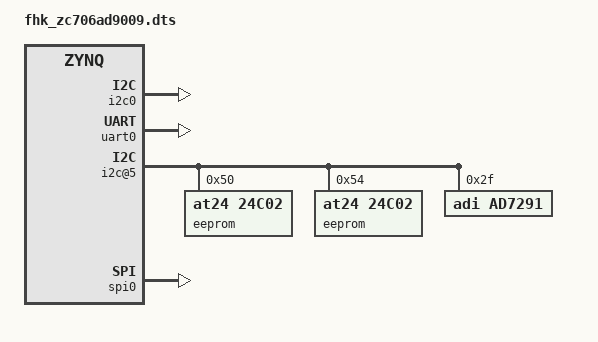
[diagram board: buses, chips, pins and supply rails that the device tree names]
/dts-v1/;

/include/ "zynq-zc706.dtsi"
/include/ "zynq-zc706-adv7511.dtsi"

/* NOTICE:
   clocks : means "clocks_input" actually
   clock-names : the name is "aligned" with the corresponding driver
interrupts of zynq7k:
  PL to PS Interrupts:
    IRQF2P[ 7: 0] input, SPI: Numbers [68:61].
    IRQF2P[15: 8] input, SPI: Numbers [91:84].
    IRQF2P[19:16] input, PPI: nFIQ, nIRQ (both CPUs).
  PS to PL Interrupts:
    IRQP2F[27: 0] Output, I/O peripherals received and forwarded to the interrupt controller.

History:
  base: branch "adrv9009_zc706", "arch\arm\boot\dts\zynq-zc706-adv7511-adrv9009.dts"
  change: clock-tree/interrupts per FHK-RFB (1*AD9528+2*AD9009)
  reference: https://ez.analog.com/wide-band-rf-transceivers/
    design-support-adrv9008-1-adrv9008-2-adrv9009/f/discussions/
    100583/adrv9009-custom-profile/300558
  change: Xilinx DPD integration, FHK DMA datapath verification
*/

&i2c0 {
	status = "okay";
};

&uart0 {
	status = "okay";
};

&i2c_mux {
	i2c@5 { /* HPC IIC */
		#address-cells = <1>;
		#size-cells = <0>;
		reg = <5>;

		eeprom@50 {
			compatible = "at24,24c02";
			reg = <0x50>;
		};

		eeprom@54 {
			compatible = "at24,24c02";
			reg = <0x54>;
		};

		ad7291@2f {
			compatible = "adi,ad7291";
			reg = <0x2f>;
		};
	};
};

&fpga_axi {
	jesd204rx_dma: jesd204rx-dmac@7c400000 {
		compatible = "adi,axi-dmac-1.00.a";
		reg = <0x7c400000 0x10000>;
		#dma-cells = <1>;
		interrupts = <0 57 0>; // UG858, Table 7-4: IRQF2P[13] -> IRQ[89-32]
		clocks = <&clkc 15>; // 15/fclk0 <- 17/fclk2
		//clocks = <&clkc 15>, <&clkc 17>, <&misc_clk_0>;
		//clock-names = "s_axi_aclk", "m_dest_axi_aclk", "fifo_wr_clk";

		adi,channels {
			#size-cells = <0>;
			#address-cells = <1>;

			dma-channel@0 {
				reg = <0>;
				adi,source-bus-width = <64>;//ADI-HDL-2018R2 is 64
				adi,source-bus-type = <2>;
				adi,destination-bus-width = <64>;//ADI-HDL-2018R2 is 64
				adi,destination-bus-type = <0>;
			};
		};
	};

	jesd204ro_dma: jesd204ro-dmac@7c440000  {
		compatible = "adi,axi-dmac-1.00.a";
		reg = <0x7c440000  0x10000>;
		#dma-cells = <1>;
		interrupts = <0 55 0>; // UG858, Table 7-4: IRQF2P[11] -> IRQ[87-32]
		clocks = <&clkc 15>; // 15/fclk0 <- 17/fclk2
		//clocks = <&clkc 15>, <&clkc 17>, <&misc_clk_0>;
		//clock-names = "s_axi_aclk", "m_dest_axi_aclk", "fifo_wr_clk";

		adi,channels {
			#size-cells = <0>;
			#address-cells = <1>;

			dma-channel@0 {
				reg = <0>;
				adi,source-bus-width = <64>;//ADI-HDL-2018R2 is 64
				adi,source-bus-type = <2>;
				adi,destination-bus-width = <64>;//ADI-HDL-2018R2 is 64
				adi,destination-bus-type = <0>;
			};
		};
	};

	jesd204tx_dma: jesd204tx-dmac@7c420000 {
		compatible = "adi,axi-dmac-1.00.a";
		reg = <0x7c420000 0x10000>;
		#dma-cells = <1>;
		interrupts = <0 56 0>; // UG858, Table 7-4: IRQF2P[12] -> IRQ[88-32]
		clocks = <&clkc 15>; // 15/fclk0 <- 17/fclk2
		//clocks = <&clkc 15>, <&clkc 17>, <&clkc 17>;
		//clock-names = "s_axi_aclk", "m_src_axi_aclk", "m_axis_aclk";

		adi,channels {
			#size-cells = <0>;
			#address-cells = <1>;

			dma-channel@0 {
				reg = <0>;
				adi,source-bus-width = <128>;//ADI-HDL-2018R2 is 64
				adi,source-bus-type = <0>;
				adi,destination-bus-width = <128>;//ADI-HDL-2018R2 is 64
				adi,destination-bus-type = <2>;
				//adi,cyclic;
			};
		};
	};

	jesd204rx_layer3: jesd204rx-layer3@44a00000 {
		compatible = "adi,axi-adrv9009-rx-1.0";
		reg = <0x44a00000 0x8000>;
		dmas = <&jesd204rx_dma 0>;
		dma-names = "rx";
		spibus-connected = <&trx0_adrv9009>;
	};

	jesd204ro_layer3: jesd204ro-layer3@44a08000 {
		compatible = "adi,axi-adrv9009-obs-1.0";
		reg = <0x44a08000 0x1000>;
		dmas = <&jesd204ro_dma 0>;
		dma-names = "rx";
		clocks = <&trx0_adrv9009 1>;
		clock-names = "sampl_clk";
	};

	jesd204tx_layer3: jesd204tx-layer3@44a04000 {
		compatible = "adi,axi-adrv9009-tx-1.0";
		reg = <0x44a04000 0x4000>;
		dmas = <&jesd204tx_dma 0>;
		dma-names = "tx";
		clocks = <&trx0_adrv9009 2>;
		clock-names = "sampl_clk";
		spibus-connected = <&trx0_adrv9009>;
		//adi,axi-pl-fifo-enable; see "plddrbypass-gpios"
	};

	jesd204rx_layer2: jesd204rx-layer2@44aa0000 {
		compatible = "adi,axi-jesd204-rx-1.0";
		reg = <0x44aa0000 0x1000>;

		interrupts = <0 54 0>; // UG858, Table 7-4: IRQF2P[10] -> IRQ[86-32]

		clocks = <&clkc 15>, <&jesd204rx_clkgen>, <&jesd204rx_layer1 0>;
		clock-names = "s_axi_aclk", "device_clk", "lane_clk";

		#clock-cells = <0>;
		clock-output-names = "jesd_rx_lane_clk";

		//RX_PATH: *FPGA.JESD204B-DeframerA -> PHY.JESD204B-FramerA
		//adi,bits-per-sample = <16>;//N'=16; PHY-Framer decide
		//adi,converters-per-device = <4>;//M=4; PHY-Framer decide
		//L(Number of Lanes)=2; PHY-Framer decide
		//S(Number of Samples)=1; PHY-Framer decide(1,2,4)
		//Figure 34. JESD204B Framer Configuration (M = 4, L = 2, S = 1)
		adi,octets-per-frame = <4>;//F=N'/8*M*S/L =(16/8)*4*1/2=4
		adi,frames-per-multiframe = <32>;
	};

	jesd204tx_layer2: jesd204tx-layer2@44a90000 {
		compatible = "adi,axi-jesd204-tx-1.0";
		reg = <0x44a90000 0x1000>;

		interrupts = <0 53 0>; // UG858, Table 7-4: IRQF2P[9] -> IRQ[85-32]

		clocks = <&clkc 15>, <&jesd204tx_clkgen>, <&jesd204tx_layer1 0>;
		clock-names = "s_axi_aclk", "device_clk", "lane_clk";

		#clock-cells = <0>;
		clock-output-names = "jesd_tx_lane_clk";

		//TX_PATH: *FPGA.JESD204B-FramerA -> PHY.JESD204B-DeframerA
		adi,converter-resolution = <16>;// 20190314: different from 14/zynqmp-zcu102-rev10-adrv9009.dts
		adi,bits-per-sample = <16>;//N'=16; PHY-Deframer decide
		adi,control-bits-per-sample = <0>;// 20190314: different from 2/zynqmp-zcu102-rev10-adrv9009.dts
		adi,converters-per-device = <4>;//M=4; PHY-Deframer decide
		//L(Number of Lanes)=4; PHY-Deframer decide
		//S(Number of Samples)=1; PHY-Deframer decide(1-only)
		//Figure 36. JESD204B Framer Configuration (M = 4, L = 4, S = 1)
		adi,octets-per-frame = <2>;//F=N'/8*M*S/L =(16/8)*4*1/4=2
		adi,frames-per-multiframe = <32>;
	};

	jesd204ro_layer2: jesd204ro-layer2@44ab0000 {
		compatible = "adi,axi-jesd204-rx-1.0";
		reg = <0x44ab0000 0x1000>;

		interrupts = <0 52 0>; // UG858, Table 7-4: IRQF2P[8] -> IRQ[84-32]

		clocks = <&clkc 15>, <&jesd204ro_clkgen>, <&jesd204ro_layer1 0>;
		clock-names = "s_axi_aclk", "device_clk", "lane_clk";

		#clock-cells = <0>;
		clock-output-names = "jesd_ro_lane_clk";

		//RO_PATH: *FPGA.JESD204B-DeframerB -> PHY.JESD204B-FramerB
		//adi,bits-per-sample = <16>;//N'=16; PHY-Framer decide
		//adi,converters-per-device = <2>;//PHY-Framer decided; ORx2-ONLY(M=2) rather than ORx1&2(M=4); must be 2 if ORX_rfbandwidth>200MHz
		//L(Number of Lanes)=2; PHY-Framer decided
		//S(Number of Samples)=1; PHY-Framer decided(1,2,or4)
		//Figure 27. JESD204B Framer Configuration (M = 2, L = 2, S = 1)
		adi,octets-per-frame = <2>; //F=N'/8*M*S/L =(16/8)*2*1/2
		adi,frames-per-multiframe = <32>;
	};

	jesd204tx_clkgen: jesd204tx-clkgen@43c00000  {
		compatible = "adi,axi-clkgen-2.00.a";
		reg = <0x43c00000 0x10000>;
		#clock-cells = <0>;
		clocks = <&clk0_ad9528 8>;
		clock-output-names = "axi_tx_clkgen";
	};

	jesd204rx_clkgen: jesd204rx-clkgen@43c10000  {
		compatible = "adi,axi-clkgen-2.00.a";
		reg = <0x43c10000 0x10000>;
		#clock-cells = <0>;
		clocks = <&clk0_ad9528 8>;
		clock-output-names = "axi_rx_clkgen";
	};

	jesd204ro_clkgen: jesd204ro-clkgen@43c20000  {
		compatible = "adi,axi-clkgen-2.00.a";
		reg = <0x43c20000 0x10000>;
		#clock-cells = <0>;
		clocks = <&clk0_ad9528 8>;
		clock-output-names = "axi_ro_clkgen";
	};

	jesd204tx_layer1: jesd204tx-layer1@44a80000 {
		#address-cells = <1>;
		#size-cells = <0>;
		compatible = "adi,axi-adxcvr-1.0";
		reg = <0x44a80000 0x1000>;

		clocks = <&clk0_ad9528 8>, <&jesd204tx_clkgen>;
		clock-names = "conv", "div40";

		#clock-cells = <1>;
		clock-output-names = "tx_gt_clk", "tx_out_clk";

		adi,sys-clk-select = <3>;
		adi,out-clk-select = <3>;
	};

	jesd204rx_layer1: jesd204rx-layer1@44a60000 {
		#address-cells = <1>;
		#size-cells = <0>;
		compatible = "adi,axi-adxcvr-1.0";
		reg = <0x44a60000 0x1000>;

		clocks = <&clk0_ad9528 8>, <&jesd204rx_clkgen 0>;
		clock-names = "conv", "div40";

		#clock-cells = <1>;
		clock-output-names = "rx_gt_clk", "rx_out_clk";

		adi,sys-clk-select = <3>;//0->3: 20190320: using the shared QPLL(by Tx/Rx/ORx)
		adi,out-clk-select = <3>;
		adi,use-lpm-enable;
		//adi,use-cpll-enable;//20190320: using the shared QPLL(by Tx/Rx/ORx)
	};

	jesd204ro_layer1: jesd204ro-layer1@44a50000 {
		#address-cells = <1>;
		#size-cells = <0>;
		compatible = "adi,axi-adxcvr-1.0";
		reg = <0x44a50000 0x1000>;

		clocks = <&clk0_ad9528 8>, <&jesd204ro_clkgen>;
		clock-names = "conv", "div40";

		#clock-cells = <1>;
		clock-output-names = "ro_gt_clk", "ro_out_clk";

		adi,sys-clk-select = <3>;//0->3: 20190320: using the shared QPLL(by Tx/Rx/ORx)
		adi,out-clk-select = <3>;
		adi,use-lpm-enable;
		//adi,use-cpll-enable;//20190320: using the shared QPLL(by Tx/Rx/ORx)
	};
};

&fpga_axi1 {
#if 0
	CLKSS0_SCR_1: dfe_scratch@8c000000 {
		compatible = "xlnx,dfe-scratch-1.0";
		reg = <0x8c000000 0x1000>;
		clock-names = "s_axi_ctrl_aclk";
		clocks = <&misc_clk_6>;
	};
	CLKSS0_CLKCTL_1: dfe_clk_ctrl@8c001000 {
		compatible = "xlnx,dfe-clk-ctrl-1.0";
		reg = <0x8c001000 0x1000>;
		clock-names = "s_axi_ctrl_aclk", "dfe_aclk";
		clocks = <&misc_clk_6>, <&misc_clk_7>;
	};
	RFISS0_EXTS_1: dfe_rsi_ext_sync@8e002000 {
		compatible = "xlnx,dfe-ext-sync-1.0";
		reg = <0x8e002000 0x1000>;
		xlnx,antennas = <0x1>;
		xlnx,phases = <0x1>;
		xlnx,rate = <0xa>;
		clock-names = "s_axi_ctrl_aclk", "aclk";
		clocks = <&misc_clk_6>, <&misc_clk_7>;
	};
	RFISS0_GPROT_1: dfe_rsi_glitch_protect@8e005000 {
		compatible = "xlnx,dfe-glitch-protect-1.0";
		reg = <0x8e005000 0x1000>;
		xlnx,antennas = <0x1>;
		xlnx,output-reg = <0x2>;
		xlnx,phases = <0x1>;
		clock-names = "s_axi_ctrl_aclk", "dac_aclk";
		clocks = <&misc_clk_6>, <&misc_clk_7>;
	};
	TXCHAIN0_DFESS0_CFR_1: dfe_txchain_cfr@85000000 {
		clock-names = "s_axi_aclk", "aclk";
		clocks = <&misc_clk_6>, <&misc_clk_7>;
		compatible = "xlnx,pc-cfr-6.2";
		reg = <0x85000000 0x100000>;
		xlnx,axis-dyn-ctrl-tdata-width = <0x1>;
		xlnx,axis-dyn-ctrl-tuser-width = <0x1>;
		xlnx,axis-tdata-width = <0x20>;
		xlnx,axis-tuser-width = <0x8>;
		xlnx,cfr-1x-data-mode = <0x0>;
		xlnx,clks-per-samp = <0x1>;
		xlnx,component-name = "system_CFR_1_0";
		xlnx,data-width = <0x10>;
		xlnx,elaboration-dir = "./";
		xlnx,max-cp-len = <0x7ff>;
		xlnx,max-peak-delay = <0xc8>;
		xlnx,mif-size = <0x1>;
		xlnx,num-antennas = <0x1>;
		xlnx,num-cpgs-iter0 = <0x8>;
		xlnx,num-cpgs-iter1 = <0x6>;
		xlnx,num-cpgs-iter2 = <0x4>;
		xlnx,num-cpgs-iter3 = <0x4>;
		xlnx,num-cpgs-iter4 = <0x4>;
		xlnx,num-cpgs-iter5 = <0x4>;
		xlnx,num-cpgs-iter6 = <0x4>;
		xlnx,num-cpgs-iter7 = <0x4>;
		xlnx,num-filters = <0x1>;
		xlnx,num-iterations = <0x4>;
		xlnx,real-complex-cp = <0x1>;
		xlnx,wcfr-mode = <0x0>;
		xlnx,write-filters = <0x1>;
		xlnx,xdevicefamily = "zynq";
	};
	TXCHAIN0_DFESS0_CPG_1: dfe_txchain_gainctrl@86001000 {
		clock-names = "s_axi_ctrl_aclk", "aclk";
		clocks = <&misc_clk_6>, <&misc_clk_7>;
		compatible = "xlnx,dfe-gain-ctrl-1.0";
		reg = <0x86001000 0x1000>;
		xlnx,antennas = <0x1>;
		xlnx,phases = <0x1>;
	};
#endif
	/* "dpd-host-app" demands 0xA0000000 rather than 0x80000000, 
	   refer to "fhk_zc706ad9009_dpd_debug.txt" for more info */
	TXCHAIN0_DFESS0_DPD: dpd@A0000000 {
		//clock-names = "dpd_aclk", "dpd_2x_aclk", "s_axi_ctrl_aclk", "s_axi_user_aclk";
		//clocks = <&jesd204tx_clkgen>, <&jesd204tx_clkgen>, <&clkc 16>, <&clkc 16>; // 16/fclk1/200MHz
		//compatible = "xlnx,dpd-8.1", "generic-uio";
		compatible = "generic-uio";
		interrupts = <0 29 1>; // UG858, Table 7-4: IRQF2P[0] -> IRQ[61-32]
		reg = <0xA0000000 0x04000000 0xA4000000 0x00020000>;
	};
};

&spi0 {
	status = "okay";
};

#define fmc_spi spi0

//#include "fhk_adrv9009_122m.dtsi"
//#include "fhk_adrv9009_245m_dc245.dtsi"
#include "fhk_adrv9009_491m_dc245.dtsi"
//#include "fhk_adrv9009_491m_dc122.dtsi"

// adrv9009_dac_fifo_bypass_s 60
// ad9528_reset_b,       // 59
// ad9528_sysref_req,    // 58
// adrv9009_tx1_enable,    // 57
// adrv9009_tx2_enable,    // 56
// adrv9009_rx1_enable,    // 55
// adrv9009_rx2_enable,    // 54
// adrv9009_test,          // 53
// adrv9009_reset_b,       // 52
// adrv9009_gpint,         // 51
// adrv9009_gpio_00,       // 50
// adrv9009_gpio_01,       // 49
// adrv9009_gpio_02,       // 48
// adrv9009_gpio_03,       // 47
// adrv9009_gpio_04,       // 46
// adrv9009_gpio_05,       // 45
// adrv9009_gpio_06,       // 44
// adrv9009_gpio_07,       // 43
// adrv9009_gpio_15,       // 42
// adrv9009_gpio_08,       // 41
// adrv9009_gpio_09,       // 40
// adrv9009_gpio_10,       // 39
// adrv9009_gpio_11,       // 38
// adrv9009_gpio_12,       // 37
// adrv9009_gpio_14,       // 36
// adrv9009_gpio_13,       // 35
// adrv9009_gpio_17,       // 34
// adrv9009_gpio_16,       // 33
// adrv9009_gpio_18}));    // 32 + 54

&trx0_adrv9009 {
	reset-gpios = <&gpio0 106 0>;
	test-gpios = <&gpio0 107 0>;
	sysref-req-gpios = <&gpio0 112 0>;
	rx2-enable-gpios = <&gpio0 108 0>;
	rx1-enable-gpios = <&gpio0 109 0>;
	tx2-enable-gpios = <&gpio0 110 0>;
	tx1-enable-gpios = <&gpio0 111 0>;
};

&clk0_ad9528 {
	reset-gpios = <&gpio0 113 0>;
};

&jesd204tx_layer3 {
	plddrbypass-gpios = <&gpio0 114 0>;
};

//#include "fhk_zc706ad9009n2.dtsi"
